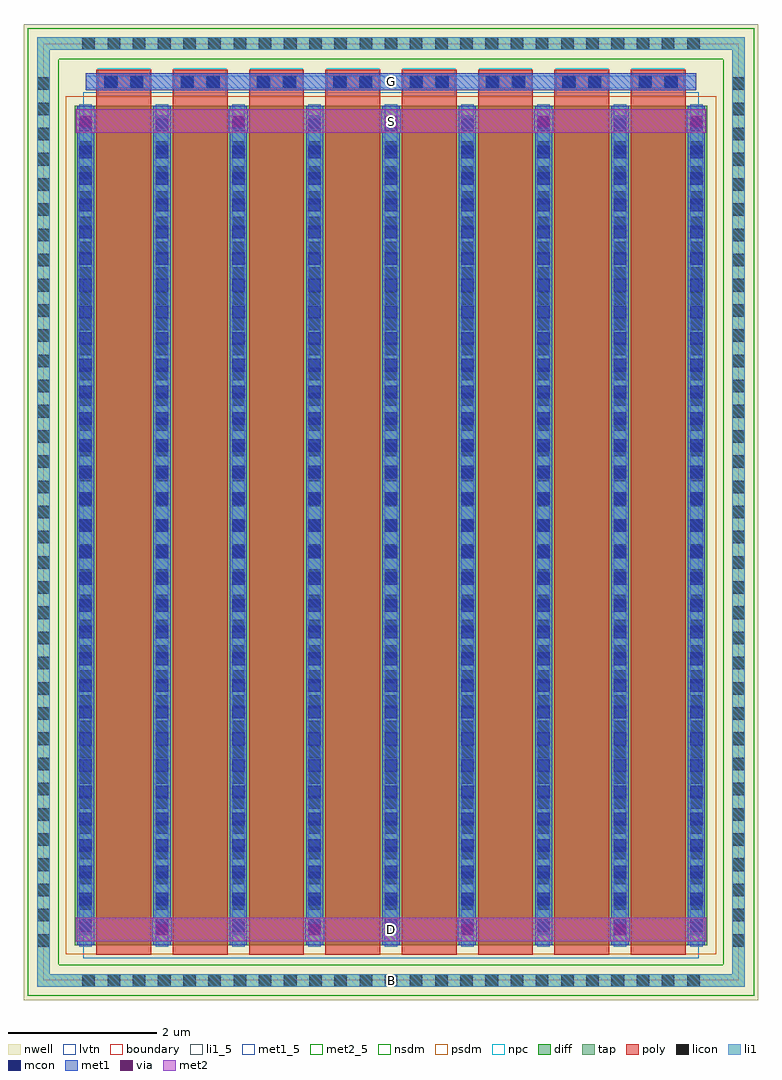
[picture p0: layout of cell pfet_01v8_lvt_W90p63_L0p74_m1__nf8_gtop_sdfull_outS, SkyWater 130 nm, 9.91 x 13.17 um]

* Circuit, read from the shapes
.subckt pfet_01v8_lvt_W90p63_L0p74_m1__nf8_gtop_sdfull_outS B D G S
XM1 D G S B sky130_fd_pr__pfet_01v8_lvt w=11.33 l=0.74 m=8
.ends

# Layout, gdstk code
import gdstk
lib = gdstk.Library(unit=1e-6, precision=1e-09)
def R(c, l, rs):  # rectangles x0, y0, x1, y1
    for r in rs: c.add(gdstk.rectangle(r[:2], r[2:], *l))
def A(c, l, x, y, w, h, nx, ny, dx, dy):  # array of equal rectangles
    R(c, l, [(x+i*dx, y+j*dy, x+i*dx+w, y+j*dy+h) for i in range(nx) for j in range(ny)])
nwell = (64, 20)
diff = (65, 20)
tap = (65, 44)
poly = (66, 20)
licon = (66, 44)
li1_5 = (67, 5)
li1 = (67, 20)
mcon = (67, 44)
met1_5 = (68, 5)
met1 = (68, 20)
via = (68, 44)
met2_5 = (69, 5)
met2 = (69, 20)
nsdm = (93, 44)
psdm = (94, 20)
npc = (95, 20)
lvtn = (125, 44)
boundary = (235, 4)

sky130_fd_pr__pfet_01v8_ = lib.new_cell('sky130_fd_pr__pfet_01v8_lvt_C39NQY')
R(sky130_fd_pr__pfet_01v8_, nwell, [(-4.955,-6.585,4.955,6.585)])
R(sky130_fd_pr__pfet_01v8_, diff, [(-4.265,-5.845,4.265,5.485)])
R(sky130_fd_pr__pfet_01v8_, tap, [(-4.775,-6.405,4.775,-6.235), (-4.775,-6.235,-4.605,6.235), (4.605,-6.235,4.775,6.235), (-4.775,6.235,4.775,6.405)])
A(sky130_fd_pr__pfet_01v8_, poly, -3.975, -5.975, 0.74, 11.945, 8, 1, 1.03, 0)
A(sky130_fd_pr__pfet_01v8_, licon, -4.165, -6.405, 0.17, 0.17, 25, 2, 0.34, 12.64)
A(sky130_fd_pr__pfet_01v8_, licon, -4.775, -5.865, 0.17, 0.17, 1, 35, 0, 0.34)
A(sky130_fd_pr__pfet_01v8_, licon, 4.605, -5.865, 0.17, 0.17, 1, 35, 0, 0.34)
A(sky130_fd_pr__pfet_01v8_, licon, -4.205, -5.705, 0.17, 0.17, 9, 33, 1.03, 0.34)
R(sky130_fd_pr__pfet_01v8_, licon, [(-3.86,5.72,-3.69,5.89), (-3.52,5.72,-3.35,5.89), (-2.83,5.72,-2.66,5.89), (-2.49,5.72,-2.32,5.89), (-1.8,5.72,-1.63,5.89), (-1.46,5.72,-1.29,5.89), (-0.77,5.72,-0.6,5.89), (-0.43,5.72,-0.26,5.89), (0.26,5.72,0.43,5.89), (0.6,5.72,0.77,5.89), (1.29,5.72,1.46,5.89), (1.63,5.72,1.8,5.89), (2.32,5.72,2.49,5.89), (2.66,5.72,2.83,5.89), (3.35,5.72,3.52,5.89), (3.69,5.72,3.86,5.89)])
A(sky130_fd_pr__pfet_01v8_, li1, -4.205, -5.865, 0.17, 11.37, 9, 1, 1.03, 0)
R(sky130_fd_pr__pfet_01v8_, li1, [(-4.775,-6.405,4.775,-6.235), (-4.775,-6.235,-4.605,6.235), (4.605,-6.235,4.775,6.235), (-4.12,5.72,4.12,5.89), (-4.775,6.235,4.775,6.405)])
A(sky130_fd_pr__pfet_01v8_, mcon, -4.205, -5.665, 0.17, 0.17, 9, 31, 1.03, 0.36)
R(sky130_fd_pr__pfet_01v8_, mcon, [(-3.87,5.72,-3.7,5.89), (-3.51,5.72,-3.34,5.89), (-2.84,5.72,-2.67,5.89), (-2.48,5.72,-2.31,5.89), (-1.81,5.72,-1.64,5.89), (-1.45,5.72,-1.28,5.89), (-0.78,5.72,-0.61,5.89), (-0.42,5.72,-0.25,5.89), (0.25,5.72,0.42,5.89), (0.61,5.72,0.78,5.89), (1.28,5.72,1.45,5.89), (1.64,5.72,1.81,5.89), (2.31,5.72,2.48,5.89), (2.67,5.72,2.84,5.89), (3.34,5.72,3.51,5.89), (3.7,5.72,3.87,5.89)])
A(sky130_fd_pr__pfet_01v8_, met1, -4.235, -5.845, 0.23, 11.33, 9, 1, 1.03, 0)
A(sky130_fd_pr__pfet_01v8_, met1, -3.955, 5.69, 0.7, 0.03, 8, 2, 1.03, 0.2)
R(sky130_fd_pr__pfet_01v8_, met1, [(-4.12,5.72,4.12,5.89)])
R(sky130_fd_pr__pfet_01v8_, nsdm, [(-4.9,-6.53,4.9,-6.11), (-4.9,-6.11,-4.48,6.11), (4.48,-6.11,4.9,6.11), (-4.9,6.11,4.9,6.53)])
R(sky130_fd_pr__pfet_01v8_, psdm, [(-4.39,-5.97,4.39,5.61)])
A(sky130_fd_pr__pfet_01v8_, npc, -3.96, 5.62, 0.71, 0.37, 8, 1, 1.03, 0)
R(sky130_fd_pr__pfet_01v8_, lvtn, [(-4.155,-6.025,4.155,5.665)])
R(sky130_fd_pr__pfet_01v8_, boundary, [(-4.69,-6.32,4.69,6.32)])
sky130_fd_pr__pfet_01v8_.add(gdstk.Label('B', (0,-6.32), layer=67, texttype=5))
sky130_fd_pr__pfet_01v8_.add(gdstk.Label('D0', (-4.12,-0.18), layer=67, texttype=5))
sky130_fd_pr__pfet_01v8_.add(gdstk.Label('G', (3.605,5.805), layer=67, texttype=5))
sky130_fd_pr__pfet_01v8_.add(gdstk.Label('G', (2.575,5.805), layer=67, texttype=5))
sky130_fd_pr__pfet_01v8_.add(gdstk.Label('G', (1.545,5.805), layer=67, texttype=5))
sky130_fd_pr__pfet_01v8_.add(gdstk.Label('G', (0.515,5.805), layer=67, texttype=5))
sky130_fd_pr__pfet_01v8_.add(gdstk.Label('G', (-0.515,5.805), layer=67, texttype=5))
sky130_fd_pr__pfet_01v8_.add(gdstk.Label('G', (-1.545,5.805), layer=67, texttype=5))
sky130_fd_pr__pfet_01v8_.add(gdstk.Label('G', (-2.575,5.805), layer=67, texttype=5))
sky130_fd_pr__pfet_01v8_.add(gdstk.Label('G', (-3.605,5.805), layer=67, texttype=5))
sky130_fd_pr__pfet_01v8_.add(gdstk.Label('S1', (-3.09,-0.18), layer=67, texttype=5))
sky130_fd_pr__pfet_01v8_.add(gdstk.Label('D2', (-2.06,-0.18), layer=67, texttype=5))
sky130_fd_pr__pfet_01v8_.add(gdstk.Label('S3', (-1.03,-0.18), layer=67, texttype=5))
sky130_fd_pr__pfet_01v8_.add(gdstk.Label('D4', (0,-0.18), layer=67, texttype=5))
sky130_fd_pr__pfet_01v8_.add(gdstk.Label('S5', (1.03,-0.18), layer=67, texttype=5))
sky130_fd_pr__pfet_01v8_.add(gdstk.Label('D6', (2.06,-0.18), layer=67, texttype=5))
sky130_fd_pr__pfet_01v8_.add(gdstk.Label('S7', (3.09,-0.18), layer=67, texttype=5))

pfet_01v8_lvt_w90p63_l0p = lib.new_cell('pfet_01v8_lvt_W90p63_L0p74_m1__nf8_gtop_sdfull_outS')
R(pfet_01v8_lvt_w90p63_l0p, li1_5, [(4.605,-0.085,4.775,0.085)])
R(pfet_01v8_lvt_w90p63_l0p, li1, [(4.605,-0.085,4.775,0.085)])
R(pfet_01v8_lvt_w90p63_l0p, met1_5, [(0.57,12.01,8.81,12.24)])
A(pfet_01v8_lvt_w90p63_l0p, met1, 1.47, 0.525, 0.26, 0.32, 4, 1, 2.06, 0)
A(pfet_01v8_lvt_w90p63_l0p, met1, 0.44, 11.435, 0.26, 0.32, 5, 1, 2.06, 0)
R(pfet_01v8_lvt_w90p63_l0p, met1, [(0.57,12.01,8.81,12.24)])
A(pfet_01v8_lvt_w90p63_l0p, via, 1.525, 0.61, 0.15, 0.15, 4, 1, 2.06, 0)
A(pfet_01v8_lvt_w90p63_l0p, via, 0.495, 11.52, 0.15, 0.15, 5, 1, 2.06, 0)
R(pfet_01v8_lvt_w90p63_l0p, met2_5, [(0.435,0.525,8.945,0.845), (0.435,11.435,8.945,11.755)])
R(pfet_01v8_lvt_w90p63_l0p, met2, [(0.435,0.525,8.945,0.845), (0.435,11.435,8.945,11.755)])
pfet_01v8_lvt_w90p63_l0p.add(gdstk.Reference(sky130_fd_pr__pfet_01v8_, (4.69,6.32)))
pfet_01v8_lvt_w90p63_l0p.add(gdstk.Label('S', (4.69,11.595), layer=69, texttype=5))
pfet_01v8_lvt_w90p63_l0p.add(gdstk.Label('D', (4.69,0.685), layer=69, texttype=5))
pfet_01v8_lvt_w90p63_l0p.add(gdstk.Label('G', (4.69,12.125), layer=68, texttype=5))
pfet_01v8_lvt_w90p63_l0p.add(gdstk.Label('B', (4.69,0), layer=67, texttype=5))

lib.write_gds('pfet_01v8_lvt_W90p63_L0p74_m1__nf8_gtop_sdfull_outS.gds')
